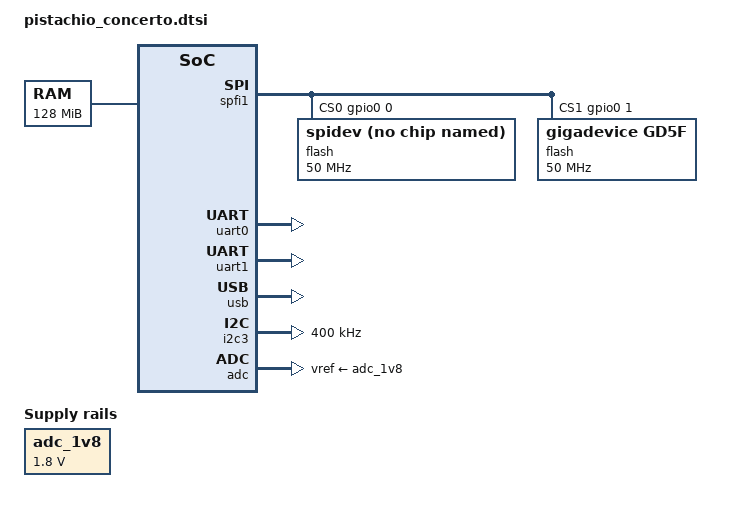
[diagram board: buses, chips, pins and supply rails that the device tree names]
/*
 * Copyright (C) 2015 Imagination Technologies Ltd.
 * Copyright (C) 2015 Google, Inc.
 *
 * This program is free software; you can redistribute it and/or modify
 * it under the terms of the GNU General Public License version 2 as
 * published by the Free Software Foundation.
 */

#include "pistachio.dtsi"

/ {
	memory {
		device_type = "memory";
		reg =  <0x00000000 0x08000000>;
	};

	adc_1v8: adc-regulator {
		compatible = "regulator-fixed";
		regulator-name = "1V8_ADC";
		regulator-min-microvolt = <1800000>;
		regulator-max-microvolt = <1800000>;
	};
};

&spfi1 {
	status = "okay";

	pinctrl-0 = <&spim1_pins>, <&spim1_quad_pins>;
	pinctrl-names = "default";
	cs-gpios = <&gpio0 0 GPIO_ACTIVE_HIGH>, <&gpio0 1 GPIO_ACTIVE_HIGH>;

	flash@0 {
		compatible = "spidev";
		reg = <0>;
		spi-max-frequency = <50000000>;
	};

	flash@1 {
		compatible = "gigadevice,gd5f";
		reg = <1>;
		spi-max-frequency = <50000000>;
		nand-on-flash-bbt;
		#address-cells = <1>;
		#size-cells = <1>;
	};
};

&uart0 {
	pinctrl-0 = <&uart0_pins>, <&uart0_rts_cts_pins>;
	pinctrl-names = "default";

	status = "okay";
};

&uart1 {
	status = "okay";
};

&usb {
	status = "okay";
};

&i2c3 {
	status = "okay";
	clock-frequency = <400000>;
};

&i2s_out {
	status = "okay";
};

&i2s_in {
	status = "okay";
};

&adc {
	status = "okay";

	vref-supply = <&adc_1v8>;
};
